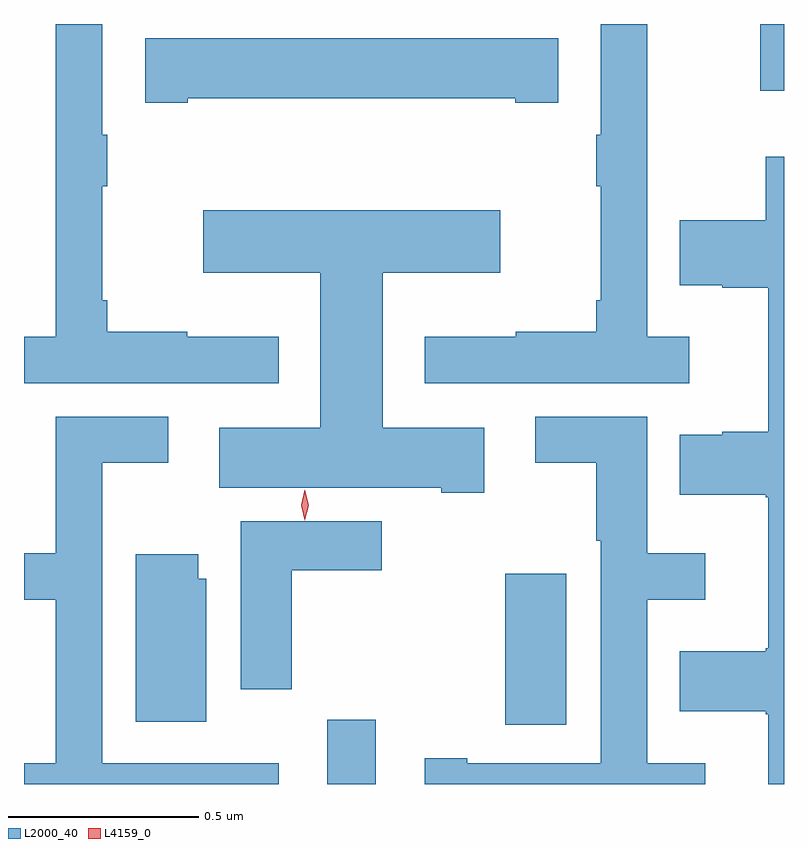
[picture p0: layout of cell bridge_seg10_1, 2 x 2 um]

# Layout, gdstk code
import gdstk
lib = gdstk.Library(unit=1e-6, precision=1e-09)
def R(c, l, rs):  # rectangles x0, y0, x1, y1
    for r in rs: c.add(gdstk.rectangle(r[:2], r[2:], *l))
def P(c, l, *ps):  # polygons
    for p in ps: c.add(gdstk.Polygon(p, *l))
L2000_40 = (2000, 40)
L4159_0 = (4159, 0)

bridge_seg10_1 = lib.new_cell('bridge_seg10_1')
R(bridge_seg10_1, L2000_40, [(1106.6,1326.102,1106.728,1326.271), (1107.068,1326.258,1107.229,1326.655), (1107.74,1327.926,1107.802,1328.102)])
P(bridge_seg10_1, L2000_40, [(1106.473,1327.279),(1106.232,1327.279),(1106.232,1327.292),(1106.021,1327.292),(1106.021,1327.375),(1106.008,1327.375),(1106.008,1327.675),(1106.021,1327.675),(1106.021,1327.811),(1106.008,1327.811),(1106.008,1328.102),(1105.886,1328.102),(1105.886,1327.279),(1105.802,1327.279),(1105.802,1327.157),(1106.473,1327.157)],
  [(1107.553,1327.279),(1107.442,1327.279),(1107.442,1328.102),(1107.32,1328.102),(1107.32,1327.811),(1107.308,1327.811),(1107.308,1327.675),(1107.32,1327.675),(1107.32,1327.375),(1107.308,1327.375),(1107.308,1327.292),(1107.096,1327.292),(1107.096,1327.279),(1106.856,1327.279),(1106.856,1327.157),(1107.553,1327.157)],
  [(1106.233,1327.907),(1107.095,1327.907),(1107.095,1327.895),(1107.208,1327.895),(1107.208,1328.065),(1106.121,1328.065),(1106.121,1327.895),(1106.233,1327.895)],
  [(1107.802,1327.753),(1107.754,1327.753),(1107.754,1327.586),(1107.527,1327.586),(1107.527,1327.415),(1107.64,1327.415),(1107.64,1327.408),(1107.761,1327.408),(1107.761,1327.029),(1107.64,1327.029),(1107.64,1327.021),(1107.527,1327.021),(1107.527,1326.863),(1107.754,1326.863),(1107.754,1326.856),(1107.761,1326.856),(1107.761,1326.459),(1107.754,1326.459),(1107.754,1326.451),(1107.527,1326.451),(1107.527,1326.293),(1107.754,1326.293),(1107.754,1326.286),(1107.761,1326.286),(1107.761,1326.102),(1107.802,1326.102)],
  [(1107.013,1327.039),(1106.746,1327.039),(1106.746,1327.448),(1107.055,1327.448),(1107.055,1327.612),(1106.274,1327.612),(1106.274,1327.448),(1106.582,1327.448),(1106.582,1327.039),(1106.316,1327.039),(1106.316,1326.881),(1106.9,1326.881),(1106.9,1326.869),(1107.013,1326.869)],
  [(1107.595,1326.157),(1107.442,1326.157),(1107.442,1326.587),(1107.595,1326.587),(1107.595,1326.709),(1107.442,1326.709),(1107.442,1327.069),(1107.147,1327.069),(1107.147,1326.947),(1107.308,1326.947),(1107.308,1326.742),(1107.32,1326.742),(1107.32,1326.157),(1106.968,1326.157),(1106.968,1326.17),(1106.856,1326.17),(1106.856,1326.102),(1107.595,1326.102)],
  [(1106.473,1326.157),(1106.008,1326.157),(1106.008,1326.947),(1106.182,1326.947),(1106.182,1327.069),(1105.886,1327.069),(1105.886,1326.709),(1105.802,1326.709),(1105.802,1326.587),(1105.886,1326.587),(1105.886,1326.157),(1105.802,1326.157),(1105.802,1326.102),(1106.473,1326.102)],
  [(1106.507,1326.664),(1106.743,1326.664),(1106.743,1326.793),(1106.372,1326.793),(1106.372,1326.351),(1106.507,1326.351)],
  [(1106.281,1326.642),(1106.26,1326.642),(1106.26,1326.706),(1106.096,1326.706),(1106.096,1326.266),(1106.281,1326.266)])
P(bridge_seg10_1, L4159_0, [(1106.541,1326.796),(1106.541,1326.796),(1106.531,1326.836),(1106.541,1326.876),(1106.541,1326.876),(1106.541,1326.876),(1106.551,1326.836),(1106.541,1326.796)])

lib.write_gds('bridge_seg10_1.gds')
